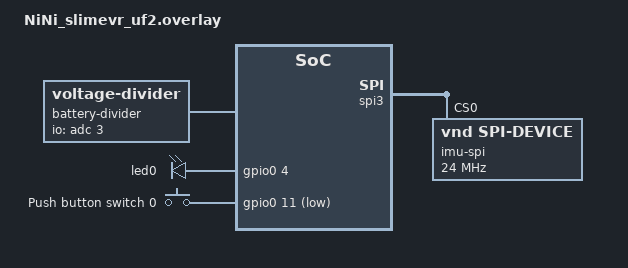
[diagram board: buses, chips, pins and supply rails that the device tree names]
/ {
	battery-divider {
		compatible = "voltage-divider";
		status = "okay";
		io-channels = <&adc 3>; // Measure VDDHDIV5
		output-ohms = <40200>;
		full-ohms = <(100000+40200)>;
	};

	aliases {
		sw0 = &button0;
		led0 = &led0;
	};

	leds {
		compatible = "gpio-leds";
		led0: led_0 {
			gpios = <&gpio0 4 GPIO_OPEN_SOURCE>;
		};
	};

buttons {
		compatible = "gpio-keys";
		button0: button_0 {
			gpios = <&gpio0 11 (GPIO_PULL_UP | GPIO_ACTIVE_LOW)>;
			label = "Push button switch 0";
		};
	};
};

arduino_spi: &spi3 {
	imu_spi: imu_spi@0 {
		compatible = "vnd,spi-device";
		spi-max-frequency = <DT_FREQ_M(24)>;
		label = "imu-spi";
		reg = <0>;
	};
};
